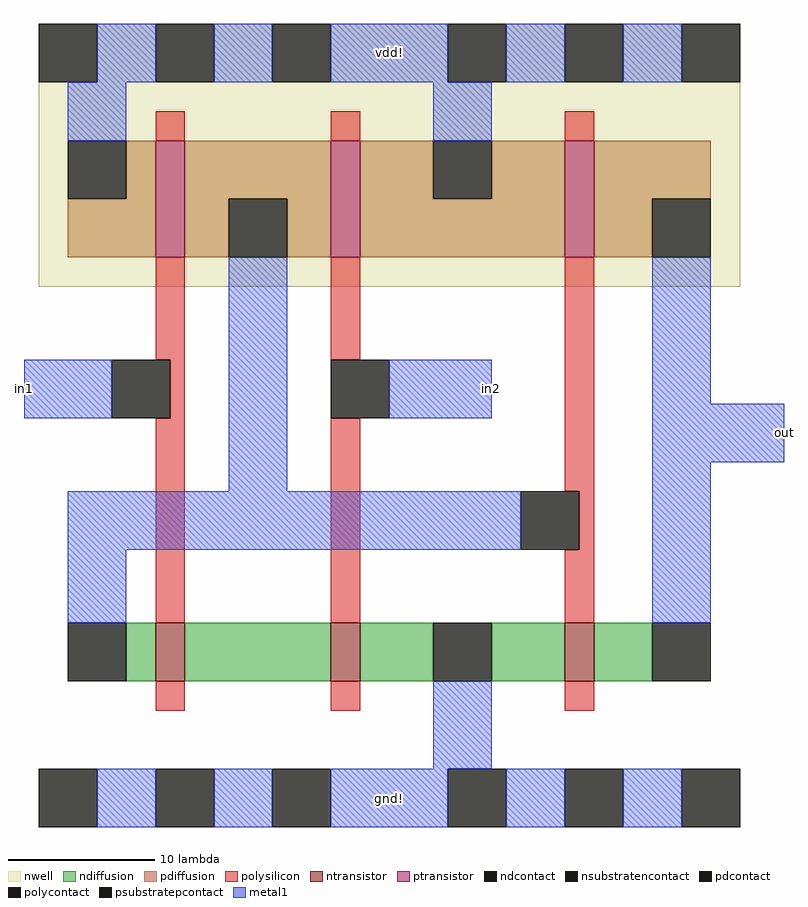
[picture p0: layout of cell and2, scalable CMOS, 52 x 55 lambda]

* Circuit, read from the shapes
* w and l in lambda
.subckt and2 gnd! in1 in2 out vdd!
M1 n1 in1 n2 gnd! nfet w=4 l=2
M2 gnd! in2 n1 gnd! nfet w=4 l=2
M3 out n2 gnd! gnd! nfet w=4 l=2
M4 n2 in1 vdd! vdd! pfet w=8 l=2
M5 vdd! in2 n2 vdd! pfet w=8 l=2
M6 out n2 vdd! vdd! pfet w=8 l=2
.ends

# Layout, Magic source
magic
tech scmos
<< nwell >>
rect -6 -1 42 17
<< polysilicon >>
rect 2 9 4 11
rect 14 9 16 11
rect 30 9 32 11
rect 2 -6 4 1
rect 3 -10 4 -6
rect 2 -24 4 -10
rect 14 -6 16 1
rect 14 -24 16 -10
rect 30 -15 32 1
rect 31 -19 32 -15
rect 30 -24 32 -19
rect 2 -30 4 -28
rect 14 -30 16 -28
rect 30 -30 32 -28
<< ndiffusion >>
rect 0 -28 2 -24
rect 4 -28 14 -24
rect 16 -28 21 -24
rect 25 -28 30 -24
rect 32 -28 36 -24
<< pdiffusion >>
rect 0 5 2 9
rect -4 1 2 5
rect 4 5 14 9
rect 4 1 7 5
rect 11 1 14 5
rect 16 5 21 9
rect 25 5 30 9
rect 16 1 30 5
rect 32 5 40 9
rect 32 1 36 5
<< metal1 >>
rect -2 13 2 17
rect 6 13 10 17
rect 14 13 22 17
rect 26 13 30 17
rect 34 13 38 17
rect -4 9 0 13
rect 21 9 25 13
rect -7 -10 -1 -6
rect 7 -15 11 1
rect 18 -10 25 -6
rect 36 -9 40 1
rect 36 -13 45 -9
rect -4 -19 27 -15
rect -4 -24 0 -19
rect 36 -24 40 -13
rect 21 -34 25 -28
rect -2 -38 2 -34
rect 6 -38 10 -34
rect 14 -38 22 -34
rect 26 -38 30 -34
rect 34 -38 38 -34
<< ntransistor >>
rect 2 -28 4 -24
rect 14 -28 16 -24
rect 30 -28 32 -24
<< ptransistor >>
rect 2 1 4 9
rect 14 1 16 9
rect 30 1 32 9
<< polycontact >>
rect -1 -10 3 -6
rect 14 -10 18 -6
rect 27 -19 31 -15
<< ndcontact >>
rect -4 -28 0 -24
rect 21 -28 25 -24
rect 36 -28 40 -24
<< pdcontact >>
rect -4 5 0 9
rect 7 1 11 5
rect 21 5 25 9
rect 36 1 40 5
<< psubstratepcontact >>
rect -6 -38 -2 -34
rect 2 -38 6 -34
rect 10 -38 14 -34
rect 22 -38 26 -34
rect 30 -38 34 -34
rect 38 -38 42 -34
<< nsubstratencontact >>
rect -6 13 -2 17
rect 2 13 6 17
rect 10 13 14 17
rect 22 13 26 17
rect 30 13 34 17
rect 38 13 42 17
<< labels >>
rlabel metal1 -7 -10 -7 -6 3 in1
rlabel metal1 25 -10 25 -6 7 in2
rlabel metal1 45 -13 45 -9 7 out
rlabel metal1 18 -36 18 -36 1 gnd!
rlabel metal1 18 15 18 15 5 vdd!
<< end >>
